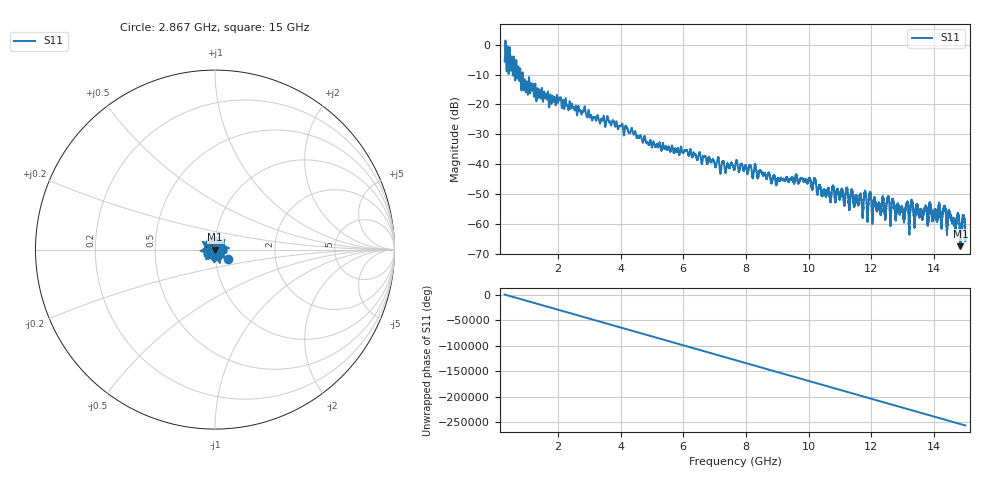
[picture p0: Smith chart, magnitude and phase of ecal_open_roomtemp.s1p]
# GHZ S RI R 50.0
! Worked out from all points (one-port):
!   12801 points, 300 MHz to 15 GHz, reference 50 ohm
!   lowest |S11| = -67.4 dB at 14.84 GHz (marker M1), VSWR 1.00, Z = 50 + j0.0142 ohm
!   |S11| at or under -10 dB: 749.1 MHz to 786.5 MHz (37.43 MHz wide, 4.88 % of centre); 808.1 MHz to 867.9 MHz (59.74 MHz wide, 7.13 % of centre); 878.5 MHz to end of sweep (the widest 3 of 6)
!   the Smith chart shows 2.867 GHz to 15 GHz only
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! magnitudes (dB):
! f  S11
! 300 MHz  -5.3
! 532 MHz  -4.0
! 976.4 MHz  -16.0
! 1.141 GHz  -13.4
! 1.373 GHz  -17.2
! 1.622 GHz  -16.4
! 1.77 GHz  -17.5
! 2.03 GHz  -17.9
! 2.138 GHz  -21.2
! 3.975 GHz  -27.2
! 4.863 GHz  -32.7
! 5.812 GHz  -35.1
! 7.387 GHz  -40.6
! 7.65 GHz  -40.9
! 9.003 GHz  -45.0
! 9.488 GHz  -44.4
! 10 GHz  -44.9
! 10.48 GHz  -48.6
! 11.32 GHz  -52.4
! 12.25 GHz  -53.1
! 12.52 GHz  -51.6
! 13.16 GHz  -53.3
! 13.3 GHz  -52.7
! 13.58 GHz  -55.2
! 14.32 GHz  -54.3
! 14.84 GHz  -67.4
! 14.93 GHz  -57.3
! 15 GHz  -64.9
